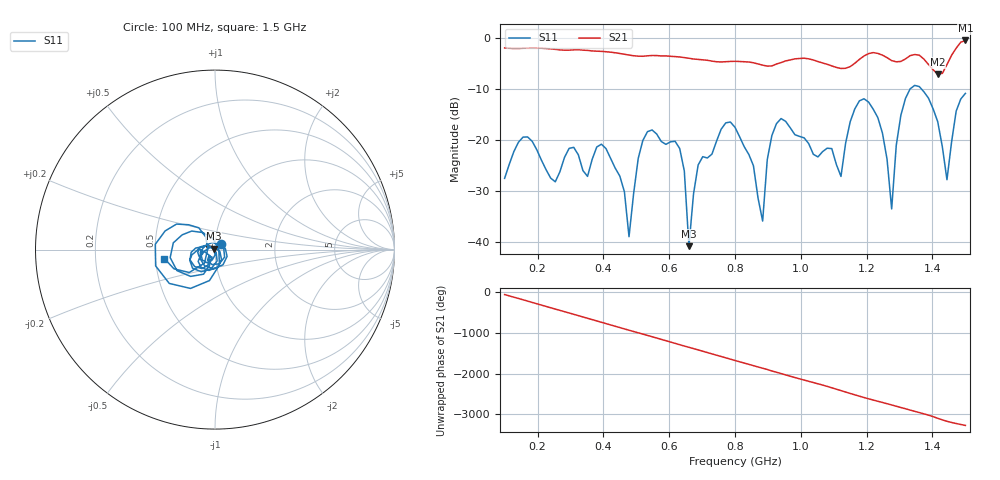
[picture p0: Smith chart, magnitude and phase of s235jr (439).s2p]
! NanoVNA-App
! Date: 2025-09-25 15:07:34
! Start: 100MHz Stop: 1,5GHz Points: 101
! S-Parameter data: F S11 S21 S12 S22
# Hz S RI R 50
!  Frequency  S11_Real  S11_Imag  S21_Real  S21_Imag  S12_Real  S12_Imag  S22_Real  S22_Imag
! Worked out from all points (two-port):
!   101 points, 100 MHz to 1.5 GHz, reference 50 ohm
!   highest |S21| = -0.51 dB at 1.5 GHz (marker M1); lowest = -7.1 dB at 1.416 GHz (marker M2)
!   |S21| within 3 dB of the highest: start of sweep to 493.7 MHz; 1.193 GHz to 1.252 GHz (58.7 MHz wide, 4.8 % of centre) (the widest 2 of 5)
!   lowest |S11| = -40.7 dB at 660 MHz (marker M3), VSWR 1.02, Z = 49.3 + j0.549 ohm
!   |S11| at or under -10 dB: start of sweep to 1.332 GHz; 1.366 GHz to end of sweep
!   S12 and S22 are empty: the file has one direction only
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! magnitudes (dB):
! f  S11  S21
! 100 MHz  -27.5  -2.0
! 156 MHz  -19.4  -2.0
! 338 MHz  -26.0  -2.4
! 408 MHz  -21.6  -2.7
! 478 MHz  -38.9  -3.4
! 520 MHz  -20.1  -3.6
! 576 MHz  -20.3  -3.5
! 632 MHz  -21.6  -3.7
! 660 MHz  -40.7  -4.0
! 688 MHz  -24.9  -4.2
! 800 MHz  -17.5  -4.6
! 884 MHz  -35.8  -5.3
! 926 MHz  -16.8  -5.1
! 1.038 GHz  -22.8  -4.3
! 1.122 GHz  -27.1  -6.0
! 1.192 GHz  -11.9  -3.5
! 1.248 GHz  -18.6  -3.4
! 1.276 GHz  -33.4  -4.4
! 1.332 GHz  -10.0  -3.5
! 1.416 GHz  -16.4  -7.1
! 1.444 GHz  -27.7  -5.2
! 1.5 GHz  -10.9  -0.5
